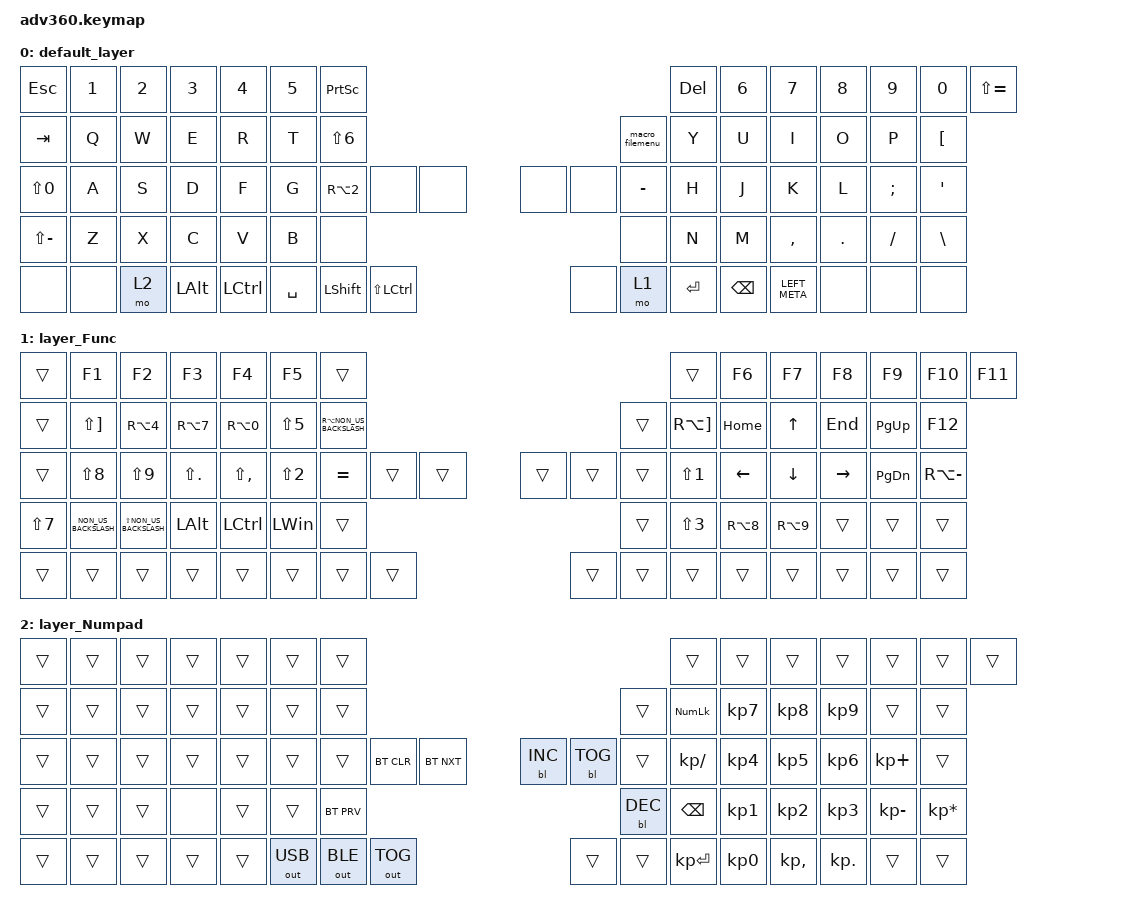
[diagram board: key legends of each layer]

/*
 * Copyright (c) 2020 The ZMK Contributors
 *
 * SPDX-License-Identifier: MIT
 */


/* THIS FILE WAS GENERATED!
 *
 * This file was generated automatically. You may or may not want to
 * edit it directly.
 */

#include <behaviors.dtsi>
#include <dt-bindings/zmk/keys.h>
#include <dt-bindings/zmk/bt.h>
#include <dt-bindings/zmk/backlight.h>
#include <dt-bindings/zmk/outputs.h>

/ {
  behaviors {
    #include "macros.dtsi"
    #include "version.dtsi"

    hm: homerow_mods {
        compatible = "zmk,behavior-hold-tap";
        label = "HOMEROW_MODS";
        #binding-cells = <2>;
        tapping-term-ms = <200>;
        quick_tap_ms = <175>;
        flavor = "tap-preferred";
        bindings = <&kp>, <&kp>;
    };
  };

    keymap {
        compatible = "zmk,keymap";


        default_layer {
            bindings = <
          &kp ESC  &kp NUMBER_1  &kp N2        &kp N3            &kp N4  &kp N5             &kp PRINTSCREEN                                                                                &kp DEL  &kp N6         &kp N7         &kp N8   &kp N9         &kp N0     &kp LS(EQUAL)
          &kp TAB         &kp Q   &kp W         &kp E             &kp R   &kp T                  &kp LS(N6)                                                                        &macro_filemenu   &kp Y          &kp U          &kp I    &kp O          &kp P  &kp LEFT_BRACKET
 &kp LS(NUMBER_0)         &kp A   &kp S         &kp D             &kp F   &kp G            &kp RA(NUMBER_2)           &none                 &none                   &none   &none        &kp MINUS   &kp H          &kp J          &kp K    &kp L  &kp SEMICOLON  &kp SINGLE_QUOTE
    &kp LS(MINUS)         &kp Z   &kp X         &kp C             &kp V   &kp B                                                             &none                   &none                            &kp N          &kp M      &kp COMMA  &kp DOT      &kp SLASH     &kp BACKSLASH
            &none         &none   &mo 2  &kp LEFT_ALT  &kp LEFT_CONTROL                           &kp SPACE  &kp LEFT_SHIFT  &kp LS(LEFT_CONTROL)                   &none   &mo 1        &kp ENTER          &kp BACKSPACE  &kp LEFT_META    &none          &none             &none
            >;
        };

        layer_Func {
            bindings = <
           &trans                 &kp F1                    &kp F2            &kp F3            &kp F4            &kp F5                              &trans                                                  &trans                 &kp F6            &kp F7            &kp F8           &kp F9        &kp F10        &kp F11
           &trans  &kp LS(RIGHT_BRACKET)          &kp RA(NUMBER_4)  &kp RA(NUMBER_7)  &kp RA(NUMBER_0)  &kp LS(NUMBER_5)            &kp RA(NON_US_BACKSLASH)                                                  &trans  &kp RA(RIGHT_BRACKET)          &kp HOME      &kp UP_ARROW          &kp END    &kp PAGE_UP        &kp F12
           &trans       &kp LS(NUMBER_8)          &kp LS(NUMBER_9)       &kp LS(DOT)     &kp LS(COMMA)  &kp LS(NUMBER_2)                           &kp EQUAL  &trans  &trans                  &trans  &trans  &trans       &kp LS(NUMBER_1)    &kp LEFT_ARROW    &kp DOWN_ARROW  &kp RIGHT_ARROW  &kp PAGE_DOWN  &kp RA(MINUS)
 &kp LS(NUMBER_7)   &kp NON_US_BACKSLASH  &kp LS(NON_US_BACKSLASH)      &kp LEFT_ALT  &kp LEFT_CONTROL      &kp LEFT_WIN                                              &trans                  &trans                             &kp LS(N3)  &kp RA(NUMBER_8)  &kp RA(NUMBER_9)           &trans         &trans         &trans
           &trans                 &trans                    &trans            &trans            &trans                                                &trans  &trans  &trans                  &trans  &trans  &trans                                   &trans            &trans           &trans         &trans         &trans
            >;
        };

        layer_Numpad {
            bindings = <
 &trans  &trans  &trans  &trans  &trans  &trans                  &trans                                                                            &trans          &trans           &trans           &trans           &trans        &trans           &trans
 &trans  &trans  &trans  &trans  &trans  &trans                  &trans                                                                            &trans  &kp KP_NUMLOCK  &kp KP_NUMBER_7  &kp KP_NUMBER_8  &kp KP_NUMBER_9        &trans           &trans
 &trans  &trans  &trans  &trans  &trans  &trans                  &trans    &bt BT_CLR    &bt BT_NXT                  &bl BL_INC  &bl BL_TOG        &trans    &kp KP_SLASH  &kp KP_NUMBER_4  &kp KP_NUMBER_5  &kp KP_NUMBER_6   &kp KP_PLUS           &trans
 &trans  &trans  &trans   &none  &trans  &trans                                          &bt BT_PRV                  &bl BL_DEC                             &kp BACKSPACE  &kp KP_NUMBER_1  &kp KP_NUMBER_2  &kp KP_NUMBER_3  &kp KP_MINUS  &kp KP_ASTERISK
 &trans  &trans  &trans  &trans  &trans                    &out OUT_USB  &out OUT_BLE  &out OUT_TOG                      &trans      &trans  &kp KP_ENTER                  &kp KP_NUMBER_0     &kp KP_COMMA       &kp KP_DOT        &trans           &trans
            >;
        };

    };
};
